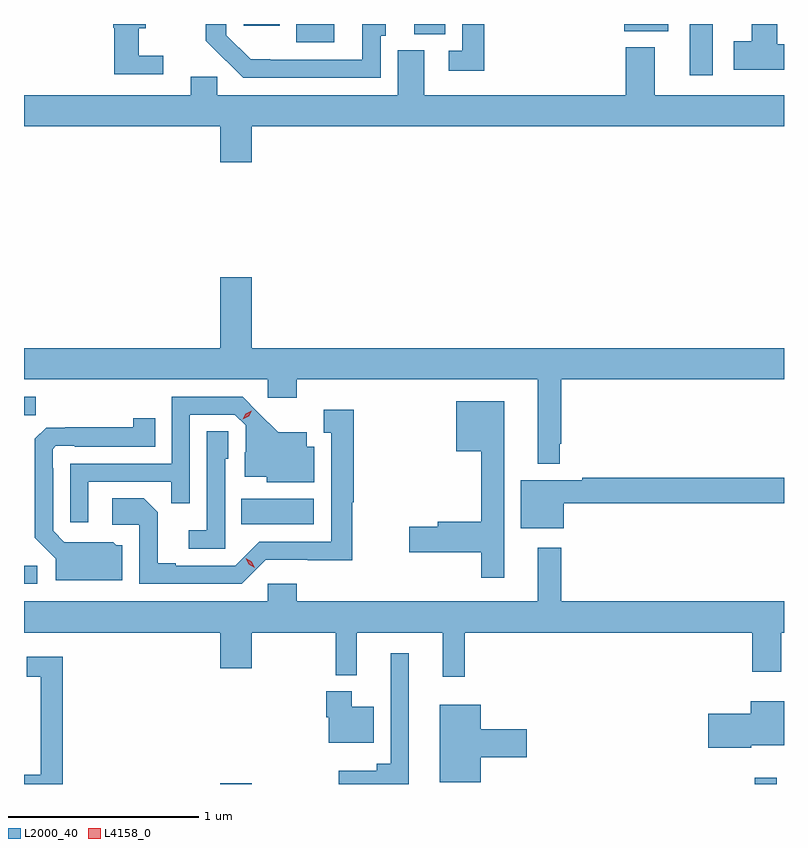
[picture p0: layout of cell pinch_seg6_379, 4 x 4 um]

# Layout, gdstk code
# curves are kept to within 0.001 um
import gdstk
lib = gdstk.Library(unit=1e-6, precision=1e-09)
def R(c, l, rs):  # rectangles x0, y0, x1, y1
    for r in rs: c.add(gdstk.rectangle(r[:2], r[2:], *l))
def P(c, l, *ps):  # polygons
    for p in ps: c.add(gdstk.Polygon(p, *l))
L2000_40 = (2000, 40)
L4158_0 = (4158, 0)

pinch_seg6_379 = lib.new_cell('pinch_seg6_379')
R(pinch_seg6_379, L2000_40, [(644.528,927.891,644.692,927.895), (647.341,927.891,647.457,927.925), (643.494,928.944,643.564,929.04), (644.638,929.258,645.019,929.392), (643.494,929.833,643.557,929.928), (646.997,931.62,647.119,931.891), (645.548,931.837,645.712,931.891), (646.652,931.853,646.885,931.891), (644.651,931.881,644.839,931.891)])
P(pinch_seg6_379, L2000_40, [(645.127,931.89),(645.024,931.89),(645.024,931.891),(644.928,931.891),(644.928,931.794),(645.127,931.794)],
  [(644.227,931.723),(644.098,931.723),(644.098,931.868),(644.134,931.868),(644.134,931.891),(643.964,931.891),(643.964,931.872),(643.969,931.872),(643.969,931.626),(644.227,931.626)],
  [(645.372,931.83),(645.397,931.83),(645.397,931.891),(645.275,931.891),(645.275,931.704),(644.688,931.705),(644.559,931.833),(644.559,931.891),(644.451,931.891),(644.451,931.803),(644.648,931.608),(645.372,931.608)],
  [(645.917,931.891),(645.801,931.891),(645.801,931.749),(645.729,931.749),(645.729,931.644),(645.917,931.644)],
  [(647.494,931.784),(647.459,931.784),(647.459,931.891),(647.324,931.891),(647.324,931.801),(647.229,931.801),(647.229,931.649),(647.494,931.649)],
  [(644.692,931.352),(647.494,931.352),(647.494,931.516),(646.813,931.516),(646.813,931.768),(646.661,931.768),(646.661,931.516),(645.601,931.516),(645.601,931.752),(645.461,931.752),(645.461,931.516),(644.511,931.516),(644.511,931.614),(644.372,931.614),(644.372,931.516),(643.494,931.516),(643.494,931.352),(644.528,931.352),(644.528,931.164),(644.692,931.164)],
  [(646.314,929.683),(646.321,929.683),(646.321,930.02),(647.494,930.02),(647.494,930.184),(644.692,930.184),(644.692,930.559),(644.528,930.559),(644.528,930.184),(643.494,930.184),(643.494,930.02),(644.778,930.02),(644.778,929.925),(644.93,929.925),(644.93,930.02),(646.199,930.02),(646.199,929.576),(646.314,929.576)],
  [(643.833,929.481),(644.269,929.481),(644.269,929.368),(644.367,929.368),(644.367,929.835),(644.604,929.835),(644.661,929.778),(644.661,929.636),(644.657,929.636),(644.657,929.507),(644.772,929.507),(644.772,929.48),(645.022,929.48),(645.022,929.665),(644.983,929.665),(644.983,929.743),(644.831,929.743),(644.644,929.928),(644.271,929.928),(644.271,929.577),(643.737,929.577),(643.737,929.268),(643.833,929.268)],
  [(646.021,929.905),(645.77,929.905),(645.77,929.642),(645.9,929.642),(645.9,929.271),(645.671,929.271),(645.671,929.246),(645.522,929.246),(645.522,929.111),(645.9,929.111),(645.9,928.977),(646.021,928.977)],
  [(644.766,929.07),(645.221,929.069),(645.221,929.373),(645.229,929.373),(645.229,929.86),(645.071,929.86),(645.071,929.739),(645.11,929.739),(645.11,929.166),(644.733,929.166),(644.607,929.04),(644.293,929.04),(644.293,929.053),(644.199,929.053),(644.199,929.32),(644.123,929.396),(643.959,929.396),(643.959,929.256),(644.1,929.256),(644.1,928.944),(644.64,928.944)],
  [(644.011,929.148),(643.98,929.148),(643.964,929.164),(643.707,929.163),(643.647,929.223),(643.647,929.552),(643.644,929.552),(643.644,929.652),(643.662,929.67),(643.762,929.67),(643.762,929.667),(644.186,929.667),(644.186,929.815),(644.068,929.815),(644.068,929.768),(643.61,929.767),(643.551,929.708),(643.551,929.186),(643.661,929.076),(643.661,928.964),(644.011,928.964)],
  [(644.553,929.604),(644.568,929.604),(644.568,929.747),(644.457,929.747),(644.457,929.227),(644.361,929.227),(644.361,929.13),(644.553,929.13)],
  [(646.336,929.368),(647.494,929.368),(647.494,929.504),(646.432,929.504),(646.432,929.491),(646.109,929.491),(646.109,929.237),(646.336,929.237)],
  [(646.321,929.134),(646.199,929.134),(646.199,928.852),(644.93,928.852),(644.93,928.945),(644.778,928.945),(644.778,928.852),(643.494,928.852),(643.494,928.688),(644.528,928.688),(644.528,928.5),(644.692,928.5),(644.692,928.688),(645.135,928.688),(645.135,928.463),(645.245,928.463),(645.245,928.688),(645.698,928.688),(645.698,928.455),(645.815,928.455),(645.815,928.688),(647.327,928.688),(647.327,928.482),(647.479,928.482),(647.479,928.688),(647.494,928.688),(647.494,928.852),(646.321,928.852)],
  [(645.52,928.579),(645.423,928.579),(645.423,927.997),(645.35,927.997),(645.35,927.961),(645.15,927.961),(645.15,927.891),(645.52,927.891)],
  [(643.697,928.561),(643.509,928.561),(643.509,928.455),(643.581,928.455),(643.581,927.939),(643.494,927.939),(643.494,927.891),(643.697,927.891)],
  [(645.334,928.297),(645.22,928.297),(645.22,928.378),(645.086,928.378),(645.086,928.242),(645.098,928.242),(645.098,928.109),(645.334,928.109)],
  [(647.322,928.094),(647.494,928.094),(647.494,928.327),(647.318,928.327),(647.318,928.26),(647.094,928.26),(647.094,928.082),(647.322,928.082)],
  [(645.898,928.031),(646.141,928.031),(646.141,928.178),(645.898,928.178),(645.898,928.309),(645.683,928.309),(645.683,927.899),(645.898,927.899)])
P(pinch_seg6_379, L4158_0, [(644.709,929.028),(644.677,929.047),(644.661,929.08),(644.661,929.08),(644.661,929.08),(644.692,929.061),(644.709,929.028),(644.709,929.028)],
  [(644.645,929.811),(644.645,929.811),(644.662,929.841),(644.692,929.856),(644.692,929.856),(644.692,929.856),(644.676,929.826),(644.645,929.811)])

lib.write_gds('pinch_seg6_379.gds')
